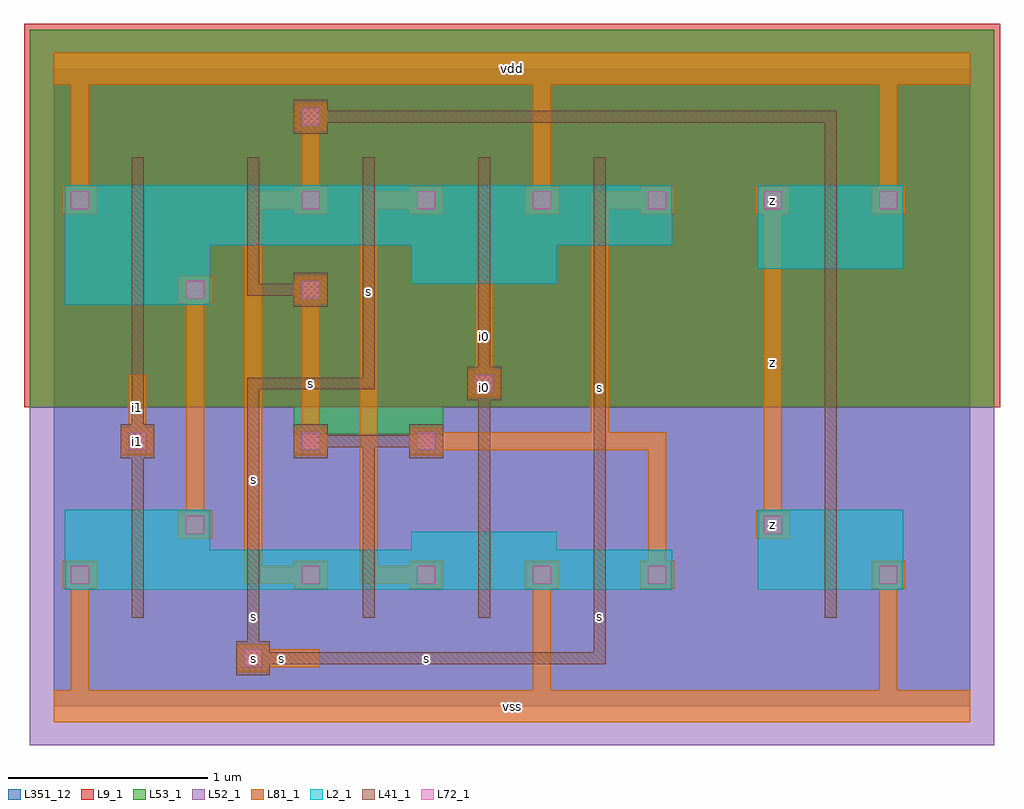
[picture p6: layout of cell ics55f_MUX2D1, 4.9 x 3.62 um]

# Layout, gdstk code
import gdstk
lib = gdstk.Library(unit=1e-6, precision=1e-09)
def R(c, l, rs):  # rectangles x0, y0, x1, y1
    for r in rs: c.add(gdstk.rectangle(r[:2], r[2:], *l))
def A(c, l, x, y, w, h, nx, ny, dx, dy):  # array of equal rectangles
    R(c, l, [(x+i*dx, y+j*dy, x+i*dx+w, y+j*dy+h) for i in range(nx) for j in range(ny)])
def P(c, l, *ps):  # polygons
    for p in ps: c.add(gdstk.Polygon(p, *l))
L0_0 = (0, 0)
L2_1 = (2, 1)
L9_1 = (9, 1)
L41_1 = (41, 1)
L52_1 = (52, 1)
L53_1 = (53, 1)
L72_1 = (72, 1)
L81_1 = (81, 1)
L351_12 = (351, 12)

ics55f_mux2d1 = lib.new_cell('ics55f_MUX2D1')
A(ics55f_mux2d1, L2_1, 1.215, 0.585, 0.15, 0.15, 4, 1, 0.58, 0)
A(ics55f_mux2d1, L2_1, 1.215, 2.465, 0.15, 0.15, 6, 1, 0.58, 0)
R(ics55f_mux2d1, L2_1, [(0.055,0.585,0.785,0.985), (0.055,0.585,0.205,0.735), (0.635,0.585,1.365,0.785), (1.215,0.585,1.945,0.785), (1.795,0.585,2.525,0.875), (2.375,0.585,3.105,0.785), (3.535,0.585,4.265,0.985), (4.115,0.585,4.265,0.735), (0.635,0.835,0.785,0.985), (3.535,0.835,3.685,0.985), (0.055,2.015,0.785,2.615), (0.635,2.015,0.785,2.165), (1.795,2.12,2.525,2.615), (3.535,2.195,4.265,2.615), (0.635,2.315,1.365,2.615), (1.215,2.315,1.945,2.615), (2.375,2.315,3.105,2.615), (0.055,2.465,0.205,2.615)])
R(ics55f_mux2d1, L9_1, [(-0.15,1.5,4.75,3.425)])
R(ics55f_mux2d1, L41_1, [(0.915,0.155,1.085,0.325), (0.97,0.21,1.03,0.69), (0.97,0.21,2.77,0.27), (2.71,0.21,2.77,0.69), (0.39,0.445,0.45,1.125), (0.97,0.445,1.03,0.925), (1.55,0.445,1.61,0.925), (2.13,0.445,2.19,1.015), (2.71,0.445,2.77,0.925), (3.87,0.445,3.93,1.125), (0.97,0.63,1.03,1.65), (1.55,0.63,1.61,1.36), (2.13,0.63,2.19,2.57), (2.71,0.63,2.77,2.57), (0.39,0.88,0.45,2.12), (3.87,0.88,3.93,2.57), (0.335,1.245,0.505,1.415), (1.205,1.245,1.375,1.415), (1.785,1.245,1.955,1.415), (1.26,1.3,1.61,1.36), (1.55,1.3,1.9,1.36), (2.075,1.535,2.245,1.705), (0.97,1.59,1.61,1.65), (1.55,1.59,1.61,2.57), (0.39,1.875,0.45,2.755), (2.13,1.98,2.19,2.755), (1.205,2.005,1.375,2.175), (3.87,2.055,3.93,2.755), (0.97,2.06,1.32,2.12), (0.97,2.06,1.03,2.57), (0.97,2.175,1.03,2.755), (1.55,2.175,1.61,2.755), (2.71,2.175,2.77,2.755), (3.87,2.51,3.93,2.99), (1.205,2.875,1.375,3.045), (1.26,2.93,3.93,2.99)])
P(ics55f_mux2d1, L52_1, [(-0.12,-0.195),(-0.12,1.5),(1.205,1.5),(1.205,1.365),(1.955,1.365),(1.955,1.5),(4.72,1.5),(4.72,-0.195)])
P(ics55f_mux2d1, L53_1, [(1.205,1.365),(1.205,1.5),(-0.12,1.5),(-0.12,3.395),(4.72,3.395),(4.72,1.5),(1.955,1.5),(1.955,1.365)])
A(ics55f_mux2d1, L72_1, 1.245, 0.615, 0.09, 0.09, 4, 1, 0.58, 0)
A(ics55f_mux2d1, L72_1, 1.245, 2.495, 0.09, 0.09, 6, 1, 0.58, 0)
R(ics55f_mux2d1, L72_1, [(0.955,0.195,1.045,0.285), (0.085,0.615,0.175,0.705), (4.145,0.615,4.235,0.705), (0.665,0.865,0.755,0.955), (3.565,0.865,3.655,0.955), (0.375,1.285,0.465,1.375), (1.245,1.285,1.335,1.375), (1.825,1.285,1.915,1.375), (2.115,1.575,2.205,1.665), (0.665,2.045,0.755,2.135), (1.245,2.045,1.335,2.135), (0.085,2.495,0.175,2.585), (1.245,2.915,1.335,3.005)])
P(ics55f_mux2d1, L81_1, [(0.915,0.17),(0.915,0.31),(1.085,0.31),(1.085,0.285),(1.335,0.285),(1.335,0.195),(1.085,0.195),(1.085,0.17)],
  [(0,-0.08),(0,0.08),(0.085,0.08),(0.085,0.59),(0.045,0.59),(0.045,0.73),(0.215,0.73),(0.215,0.59),(0.175,0.59),(0.175,0.08),(2.405,0.08),(2.405,0.59),(2.365,0.59),(2.365,0.73),(2.535,0.73),(2.535,0.59),(2.495,0.59),(2.495,0.08),(4.145,0.08),(4.145,0.59),(4.105,0.59),(4.105,0.73),(4.275,0.73),(4.275,0.59),(4.235,0.59),(4.235,0.08),(4.6,0.08),(4.6,-0.08)],
  [(0.335,1.26),(0.335,1.4),(0.375,1.4),(0.375,1.665),(0.465,1.665),(0.465,1.4),(0.505,1.4),(0.505,1.26)],
  [(2.075,1.55),(2.075,1.69),(2.115,1.69),(2.115,2.135),(2.205,2.135),(2.205,1.69),(2.245,1.69),(2.245,1.55)],
  [(0.625,0.84),(0.625,0.98),(0.665,0.98),(0.665,2.02),(0.625,2.02),(0.625,2.16),(0.795,2.16),(0.795,2.02),(0.755,2.02),(0.755,0.98),(0.795,0.98),(0.795,0.84)],
  [(1.205,1.26),(1.205,1.4),(1.245,1.4),(1.245,2.02),(1.205,2.02),(1.205,2.16),(1.375,2.16),(1.375,2.02),(1.335,2.02),(1.335,1.4),(1.375,1.4),(1.375,1.26)],
  [(1.785,0.59),(1.785,0.615),(1.535,0.615),(1.535,2.585),(1.785,2.585),(1.785,2.61),(1.955,2.61),(1.955,2.47),(1.785,2.47),(1.785,2.495),(1.625,2.495),(1.625,0.705),(1.785,0.705),(1.785,0.73),(1.955,0.73),(1.955,0.59)],
  [(2.945,0.59),(2.945,0.73),(2.985,0.73),(2.985,1.285),(1.955,1.285),(1.955,1.26),(1.785,1.26),(1.785,1.4),(1.955,1.4),(1.955,1.375),(2.695,1.375),(2.695,2.585),(2.945,2.585),(2.945,2.61),(3.115,2.61),(3.115,2.47),(2.945,2.47),(2.945,2.495),(2.785,2.495),(2.785,1.375),(3.075,1.375),(3.075,0.73),(3.115,0.73),(3.115,0.59)],
  [(3.525,0.84),(3.525,0.98),(3.565,0.98),(3.565,2.47),(3.525,2.47),(3.525,2.61),(3.695,2.61),(3.695,2.47),(3.655,2.47),(3.655,0.98),(3.695,0.98),(3.695,0.84)],
  [(1.205,0.59),(1.205,0.615),(0.955,0.615),(0.955,2.585),(1.205,2.585),(1.205,2.61),(1.245,2.61),(1.245,2.89),(1.205,2.89),(1.205,3.03),(1.375,3.03),(1.375,2.89),(1.335,2.89),(1.335,2.61),(1.375,2.61),(1.375,2.47),(1.205,2.47),(1.205,2.495),(1.045,2.495),(1.045,0.705),(1.205,0.705),(1.205,0.73),(1.375,0.73),(1.375,0.59)],
  [(0.045,2.47),(0.045,2.61),(0.085,2.61),(0.085,3.12),(0,3.12),(0,3.28),(4.6,3.28),(4.6,3.12),(4.235,3.12),(4.235,2.61),(4.275,2.61),(4.275,2.47),(4.105,2.47),(4.105,2.61),(4.145,2.61),(4.145,3.12),(2.495,3.12),(2.495,2.61),(2.535,2.61),(2.535,2.47),(2.365,2.47),(2.365,2.61),(2.405,2.61),(2.405,3.12),(0.175,3.12),(0.175,2.61),(0.215,2.61),(0.215,2.47)])
R(ics55f_mux2d1, L351_12, [(0,0,4.6,3.2)])
ics55f_mux2d1.add(gdstk.FlexPath([(0.045,0.24),(4.275,0.24)], 0, ends="flush", simple_path=True, layer=0, datatype=0))  # L0_0
ics55f_mux2d1.add(gdstk.FlexPath([(0.045,0.66),(4.275,0.66)], 0, ends="flush", simple_path=True, layer=0, datatype=0))  # L0_0
ics55f_mux2d1.add(gdstk.FlexPath([(0.045,0.91),(4.275,0.91)], 0, ends="flush", simple_path=True, layer=0, datatype=0))  # L0_0
ics55f_mux2d1.add(gdstk.FlexPath([(0.045,1.33),(4.275,1.33)], 0, ends="flush", simple_path=True, layer=0, datatype=0))  # L0_0
ics55f_mux2d1.add(gdstk.FlexPath([(0.045,1.62),(4.275,1.62)], 0, ends="flush", simple_path=True, layer=0, datatype=0))  # L0_0
ics55f_mux2d1.add(gdstk.FlexPath([(0.045,2.09),(4.275,2.09)], 0, ends="flush", simple_path=True, layer=0, datatype=0))  # L0_0
ics55f_mux2d1.add(gdstk.FlexPath([(0.045,2.54),(4.275,2.54)], 0, ends="flush", simple_path=True, layer=0, datatype=0))  # L0_0
ics55f_mux2d1.add(gdstk.FlexPath([(0.045,2.96),(4.275,2.96)], 0, ends="flush", simple_path=True, layer=0, datatype=0))  # L0_0
ics55f_mux2d1.add(gdstk.FlexPath([(0.13,0.03),(0.13,3.17)], 0, ends="flush", simple_path=True, layer=0, datatype=0))  # L0_0
ics55f_mux2d1.add(gdstk.FlexPath([(0.42,0.03),(0.42,3.17)], 0, ends="flush", simple_path=True, layer=0, datatype=0))  # L0_0
ics55f_mux2d1.add(gdstk.FlexPath([(0.71,0.03),(0.71,3.17)], 0, ends="flush", simple_path=True, layer=0, datatype=0))  # L0_0
ics55f_mux2d1.add(gdstk.FlexPath([(1,0.03),(1,3.17)], 0, ends="flush", simple_path=True, layer=0, datatype=0))  # L0_0
ics55f_mux2d1.add(gdstk.FlexPath([(1.29,0.03),(1.29,3.17)], 0, ends="flush", simple_path=True, layer=0, datatype=0))  # L0_0
ics55f_mux2d1.add(gdstk.FlexPath([(1.58,0.03),(1.58,3.17)], 0, ends="flush", simple_path=True, layer=0, datatype=0))  # L0_0
ics55f_mux2d1.add(gdstk.FlexPath([(1.87,0.03),(1.87,3.17)], 0, ends="flush", simple_path=True, layer=0, datatype=0))  # L0_0
ics55f_mux2d1.add(gdstk.FlexPath([(2.16,0.03),(2.16,3.17)], 0, ends="flush", simple_path=True, layer=0, datatype=0))  # L0_0
ics55f_mux2d1.add(gdstk.FlexPath([(2.45,0.03),(2.45,3.17)], 0, ends="flush", simple_path=True, layer=0, datatype=0))  # L0_0
ics55f_mux2d1.add(gdstk.FlexPath([(2.74,0.03),(2.74,3.17)], 0, ends="flush", simple_path=True, layer=0, datatype=0))  # L0_0
ics55f_mux2d1.add(gdstk.FlexPath([(3.03,0.03),(3.03,3.17)], 0, ends="flush", simple_path=True, layer=0, datatype=0))  # L0_0
ics55f_mux2d1.add(gdstk.FlexPath([(3.32,0.03),(3.32,3.17)], 0, ends="flush", simple_path=True, layer=0, datatype=0))  # L0_0
ics55f_mux2d1.add(gdstk.FlexPath([(3.61,0.03),(3.61,3.17)], 0, ends="flush", simple_path=True, layer=0, datatype=0))  # L0_0
ics55f_mux2d1.add(gdstk.FlexPath([(3.9,0.03),(3.9,3.17)], 0, ends="flush", simple_path=True, layer=0, datatype=0))  # L0_0
ics55f_mux2d1.add(gdstk.FlexPath([(4.19,0.03),(4.19,3.17)], 0, ends="flush", simple_path=True, layer=0, datatype=0))  # L0_0
ics55f_mux2d1.add(gdstk.Label('z', (3.61,0.91), layer=2, texttype=1))
ics55f_mux2d1.add(gdstk.Label('z', (3.61,2.54), layer=2, texttype=1))
ics55f_mux2d1.add(gdstk.Label('s', (1,0.45), layer=41, texttype=1))
ics55f_mux2d1.add(gdstk.Label('s', (1.87,0.24), layer=41, texttype=1))
ics55f_mux2d1.add(gdstk.Label('s', (2.74,0.45), layer=41, texttype=1))
ics55f_mux2d1.add(gdstk.Label('s', (1,1.14), layer=41, texttype=1))
ics55f_mux2d1.add(gdstk.Label('s', (1.29,1.62), layer=41, texttype=1))
ics55f_mux2d1.add(gdstk.Label('s', (1.58,2.08), layer=41, texttype=1))
ics55f_mux2d1.add(gdstk.Label('s', (2.74,1.6), layer=41, texttype=1))
ics55f_mux2d1.add(gdstk.Label('s', (1,0.24), layer=41, texttype=1))
ics55f_mux2d1.add(gdstk.Label('i1', (0.42,1.5), layer=41, texttype=1))
ics55f_mux2d1.add(gdstk.Label('i1', (0.42,1.33), layer=41, texttype=1))
ics55f_mux2d1.add(gdstk.Label('i0', (2.16,1.6), layer=41, texttype=1))
ics55f_mux2d1.add(gdstk.Label('i0', (2.16,1.62), layer=41, texttype=1))
ics55f_mux2d1.add(gdstk.Label('s', (1,0.24), layer=72, texttype=1))
ics55f_mux2d1.add(gdstk.Label('i1', (0.42,1.33), layer=72, texttype=1))
ics55f_mux2d1.add(gdstk.Label('i0', (2.16,1.62), layer=72, texttype=1))
ics55f_mux2d1.add(gdstk.Label('z', (3.61,0.91), layer=72, texttype=1))
ics55f_mux2d1.add(gdstk.Label('z', (3.61,2.54), layer=72, texttype=1))
ics55f_mux2d1.add(gdstk.Label('s', (1,0.24), layer=81, texttype=6))
ics55f_mux2d1.add(gdstk.Label('s', (1.145,0.24), layer=81, texttype=6))
ics55f_mux2d1.add(gdstk.Label('i1', (0.42,1.33), layer=81, texttype=6))
ics55f_mux2d1.add(gdstk.Label('i1', (0.42,1.475), layer=81, texttype=6))
ics55f_mux2d1.add(gdstk.Label('i0', (2.16,1.62), layer=81, texttype=6))
ics55f_mux2d1.add(gdstk.Label('i0', (2.16,1.855), layer=81, texttype=6))
ics55f_mux2d1.add(gdstk.Label('z', (3.61,0.91), layer=81, texttype=6))
ics55f_mux2d1.add(gdstk.Label('z', (3.61,2.54), layer=81, texttype=6))
ics55f_mux2d1.add(gdstk.Label('z', (3.61,1.725), layer=81, texttype=6))
ics55f_mux2d1.add(gdstk.Label('vss', (2.3,0), layer=81, texttype=6))
ics55f_mux2d1.add(gdstk.Label('vdd', (2.3,3.2), layer=81, texttype=6))

lib.write_gds('ics55f_MUX2D1.gds')
